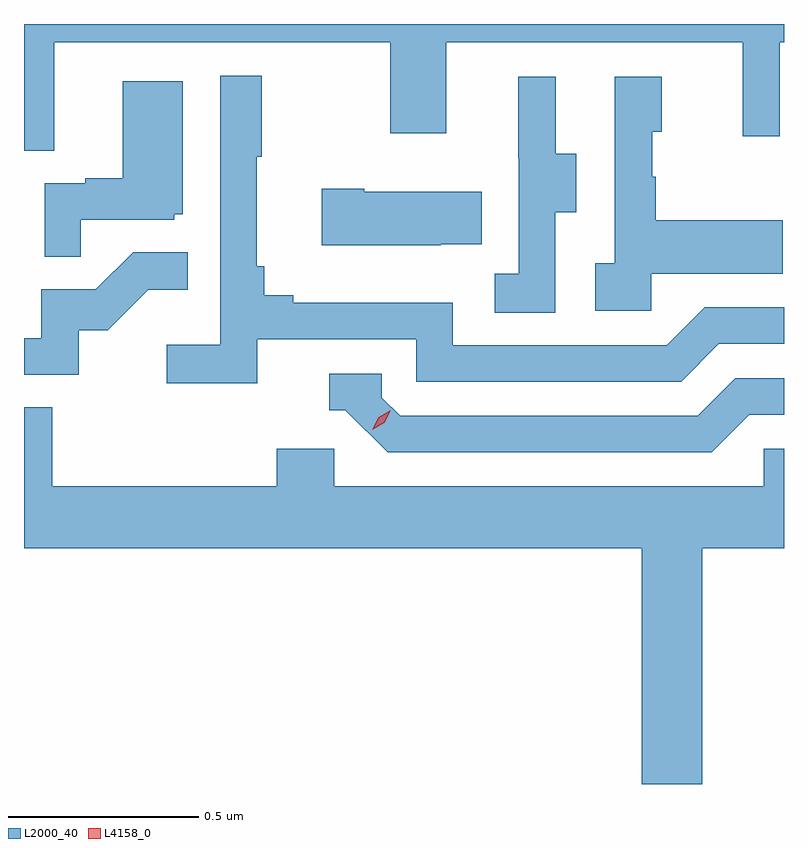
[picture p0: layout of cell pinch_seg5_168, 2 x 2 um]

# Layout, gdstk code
import gdstk
lib = gdstk.Library(unit=1e-6, precision=1e-09)
def P(c, l, *ps):  # polygons
    for p in ps: c.add(gdstk.Polygon(p, *l))
L2000_40 = (2000, 40)
L4158_0 = (4158, 0)

pinch_seg5_168 = lib.new_cell('pinch_seg5_168')
P(pinch_seg5_168, L2000_40, [(1084.243,891.392),(1085.128,891.392),(1085.128,891.153),(1085.275,891.153),(1085.275,891.392),(1086.056,891.392),(1086.056,891.144),(1086.153,891.144),(1086.153,891.392),(1086.164,891.392),(1086.164,891.44),(1084.164,891.44),(1084.164,891.106),(1084.243,891.106)],
  [(1084.778,890.61),(1085.196,890.61),(1085.196,890.499),(1085.893,890.499),(1085.992,890.598),(1086.164,890.598),(1086.164,890.694),(1085.955,890.694),(1085.856,890.595),(1085.292,890.595),(1085.292,890.707),(1084.873,890.707),(1084.873,890.726),(1084.796,890.726),(1084.796,890.803),(1084.777,890.803),(1084.777,891.091),(1084.789,891.091),(1084.789,891.304),(1084.68,891.304),(1084.68,890.596),(1084.539,890.596),(1084.539,890.494),(1084.778,890.494)],
  [(1085.814,890.783),(1086.161,890.783),(1086.161,890.923),(1085.827,890.923),(1085.827,891.038),(1085.817,891.038),(1085.817,891.156),(1085.842,891.156),(1085.842,891.301),(1085.718,891.301),(1085.718,890.81),(1085.667,890.81),(1085.667,890.685),(1085.814,890.685)],
  [(1085.562,890.944),(1085.617,890.944),(1085.617,891.099),(1085.563,891.099),(1085.563,891.301),(1085.465,891.301),(1085.465,891.087),(1085.466,891.087),(1085.466,890.783),(1085.403,890.783),(1085.403,890.68),(1085.562,890.68)],
  [(1084.313,890.925),(1084.56,890.925),(1084.56,890.94),(1084.582,890.94),(1084.582,891.289),(1084.424,891.289),(1084.424,891.034),(1084.325,891.034),(1084.325,891.021),(1084.218,891.021),(1084.218,890.827),(1084.313,890.827)],
  [(1085.261,890.861),(1085.369,890.861),(1085.369,890.998),(1085.059,890.998),(1085.059,891.006),(1084.947,891.006),(1084.947,890.858),(1085.261,890.858)],
  [(1084.308,890.634),(1084.384,890.634),(1084.491,890.741),(1084.595,890.741),(1084.595,890.84),(1084.451,890.84),(1084.353,890.742),(1084.209,890.742),(1084.209,890.613),(1084.164,890.613),(1084.164,890.517),(1084.308,890.517)],
  [(1086.073,890.412),(1086.164,890.412),(1086.164,890.508),(1086.036,890.508),(1085.937,890.409),(1085.154,890.409),(1085.106,890.457),(1085.106,890.52),(1084.967,890.52),(1084.967,890.424),(1085.01,890.424),(1085.121,890.313),(1085.974,890.313)],
  [(1085.949,890.06),(1086.164,890.06),(1086.164,890.322),(1086.111,890.322),(1086.111,890.224),(1084.98,890.224),(1084.98,890.322),(1084.829,890.322),(1084.829,890.224),(1084.238,890.224),(1084.238,890.432),(1084.164,890.432),(1084.164,890.06),(1085.789,890.06),(1085.789,889.44),(1085.949,889.44)])
P(pinch_seg5_168, L4158_0, [(1085.081,890.372),(1085.081,890.372),(1085.098,890.405),(1085.129,890.424),(1085.129,890.424),(1085.129,890.424),(1085.112,890.391),(1085.081,890.372)])

lib.write_gds('pinch_seg5_168.gds')
